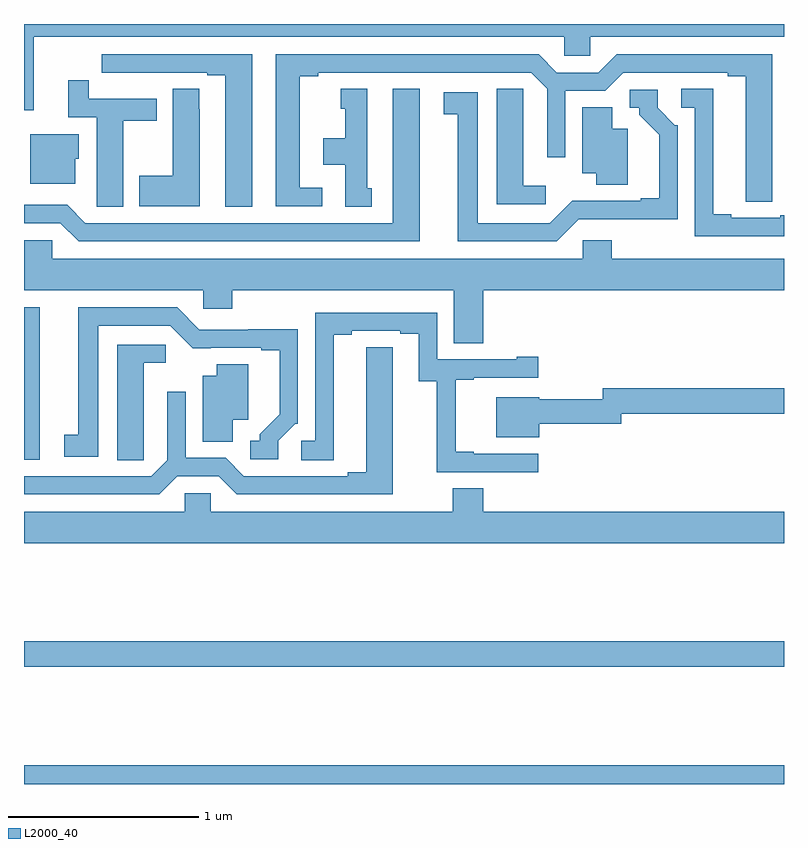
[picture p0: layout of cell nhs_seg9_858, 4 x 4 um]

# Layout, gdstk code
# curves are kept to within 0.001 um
import gdstk
lib = gdstk.Library(unit=1e-6, precision=1e-09)
def R(c, l, rs):  # rectangles x0, y0, x1, y1
    for r in rs: c.add(gdstk.rectangle(r[:2], r[2:], *l))
def P(c, l, *ps):  # polygons
    for p in ps: c.add(gdstk.Polygon(p, *l))
L2000_40 = (2000, 40)

nhs_seg9_858 = lib.new_cell('nhs_seg9_858')
R(nhs_seg9_858, L2000_40, [(157,1180.5,161,1180.6), (157,1181.116,161,1181.252), (157,1182.207,157.084,1183.008)])
P(nhs_seg9_858, L2000_40, [(159.981,1184.432),(161,1184.432),(161,1184.5),(157,1184.5),(157,1184.046),(157.052,1184.046),(157.052,1184.432),(159.843,1184.432),(159.843,1184.334),(159.981,1184.334)],
  [(158.2,1184.34),(157.41,1184.34),(157.41,1184.244),(157.522,1184.244),(157.522,1184.243),(157.688,1184.243),(157.688,1184.244),(157.964,1184.244),(157.964,1184.229),(158.06,1184.229),(158.06,1183.537),(158.2,1183.537)],
  [(158.569,1183.638),(158.452,1183.638),(158.452,1184.224),(158.548,1184.224),(158.548,1184.244),(159.669,1184.244),(159.753,1184.16),(159.753,1183.8),(159.849,1183.8),(159.849,1184.148),(160.059,1184.148),(160.155,1184.244),(160.703,1184.244),(160.703,1184.224),(160.799,1184.224),(160.799,1183.564),(160.938,1183.564),(160.939,1184.34),(160.119,1184.34),(160.023,1184.244),(159.805,1184.244),(159.709,1184.34),(158.324,1184.34),(158.324,1183.542),(158.569,1183.542)],
  [(157.522,1183.99),(157.699,1183.99),(157.699,1184.106),(157.34,1184.106),(157.34,1184.203),(157.232,1184.203),(157.232,1184.01),(157.382,1184.01),(157.382,1183.648),(157.383,1183.648),(157.383,1183.537),(157.522,1183.537)],
  [(159.745,1183.648),(159.628,1183.648),(159.628,1184.051),(159.627,1184.051),(159.627,1184.159),(159.488,1184.159),(159.488,1183.551),(159.745,1183.551)],
  [(161,1183.494),(160.979,1183.494),(160.979,1183.479),(160.723,1183.479),(160.723,1183.499),(160.627,1183.499),(160.627,1184.159),(160.458,1184.159),(160.458,1184.058),(160.53,1184.058),(160.53,1183.383),(161,1183.383)],
  [(157.924,1184.051),(157.923,1184.051),(157.923,1184.159),(157.784,1184.159),(157.784,1183.701),(157.607,1183.701),(157.607,1183.541),(157.924,1183.541)],
  [(159.082,1184.158),(158.942,1184.158),(158.942,1183.452),(157.323,1183.452),(157.227,1183.548),(157,1183.548),(157,1183.452),(157.191,1183.452),(157.287,1183.356),(159.082,1183.356)],
  [(158.83,1183.635),(158.806,1183.635),(158.806,1184.158),(158.666,1184.158),(158.666,1184.055),(158.69,1184.055),(158.69,1183.9),(158.576,1183.9),(158.576,1183.76),(158.69,1183.76),(158.69,1183.537),(158.83,1183.537)],
  [(159.921,1183.473),(160.44,1183.472),(160.44,1183.968),(160.425,1183.968),(160.335,1184.058),(160.335,1184.154),(160.188,1184.154),(160.188,1184.058),(160.238,1184.058),(160.238,1184.023),(160.343,1183.918),(160.343,1183.582),(160.247,1183.582),(160.247,1183.569),(159.886,1183.57),(159.768,1183.452),(159.388,1183.452),(159.388,1184.142),(159.21,1184.142),(159.21,1184.026),(159.284,1184.026),(159.284,1183.356),(159.804,1183.356)],
  [(160.177,1183.948),(160.096,1183.948),(160.096,1184.063),(159.938,1184.063),(159.938,1183.715),(160.013,1183.715),(160.013,1183.654),(160.177,1183.654)],
  [(157.27,1183.791),(157.288,1183.791),(157.288,1183.921),(157.034,1183.921),(157.034,1183.658),(157.27,1183.658)],
  [(159.416,1183.1),(161,1183.1),(161,1183.264),(160.094,1183.264),(160.094,1183.362),(159.942,1183.362),(159.942,1183.264),(157.149,1183.264),(157.149,1183.362),(157,1183.362),(157,1183.1),(157.944,1183.1),(157.944,1183.002),(158.096,1183.002),(158.096,1183.1),(159.263,1183.1),(159.263,1182.82),(159.416,1182.82)],
  [(158.337,1182.306),(158.427,1182.396),(158.442,1182.396),(158.442,1182.893),(158.179,1182.893),(158.179,1182.891),(157.923,1182.891),(157.806,1183.008),(157.286,1183.008),(157.286,1182.338),(157.212,1182.338),(157.212,1182.222),(157.39,1182.222),(157.39,1182.912),(157.77,1182.912),(157.888,1182.794),(158.249,1182.795),(158.249,1182.783),(158.345,1182.783),(158.345,1182.446),(158.24,1182.341),(158.24,1182.306),(158.19,1182.306),(158.19,1182.21),(158.337,1182.21)],
  [(159.706,1182.237),(159.367,1182.237),(159.367,1182.25),(159.272,1182.25),(159.272,1182.627),(159.367,1182.627),(159.367,1182.639),(159.706,1182.639),(159.706,1182.748),(159.593,1182.748),(159.593,1182.735),(159.174,1182.735),(159.174,1182.981),(158.532,1182.981),(158.532,1182.306),(158.46,1182.306),(158.46,1182.205),(158.629,1182.205),(158.629,1182.865),(158.725,1182.865),(158.725,1182.885),(158.981,1182.885),(158.981,1182.87),(159.077,1182.87),(159.077,1182.619),(159.172,1182.619),(159.172,1182.141),(159.706,1182.141)],
  [(157.629,1182.313),(157.63,1182.313),(157.63,1182.716),(157.747,1182.716),(157.747,1182.813),(157.49,1182.813),(157.49,1182.205),(157.629,1182.205)],
  [(157.807,1182.12),(158.025,1182.12),(158.121,1182.024),(158.941,1182.024),(158.94,1182.8),(158.801,1182.8),(158.801,1182.14),(158.705,1182.14),(158.705,1182.12),(158.157,1182.12),(158.061,1182.216),(157.851,1182.216),(157.851,1182.565),(157.755,1182.565),(157.755,1182.204),(157.671,1182.12),(157,1182.12),(157,1182.024),(157.711,1182.024)],
  [(158.098,1182.416),(158.179,1182.416),(158.179,1182.71),(158.015,1182.71),(158.015,1182.649),(157.94,1182.649),(157.94,1182.301),(158.098,1182.301)],
  [(159.712,1182.396),(160.143,1182.396),(160.143,1182.448),(161,1182.448),(161,1182.584),(160.047,1182.584),(160.047,1182.524),(159.712,1182.524),(159.712,1182.535),(159.485,1182.535),(159.485,1182.326),(159.712,1182.326)],
  [(161,1181.932),(159.416,1181.932),(159.416,1182.056),(159.256,1182.056),(159.256,1181.932),(157.983,1181.932),(157.983,1182.03),(157.845,1182.03),(157.845,1181.932),(157,1181.932),(157,1181.768),(161,1181.768)])

lib.write_gds('nhs_seg9_858.gds')
